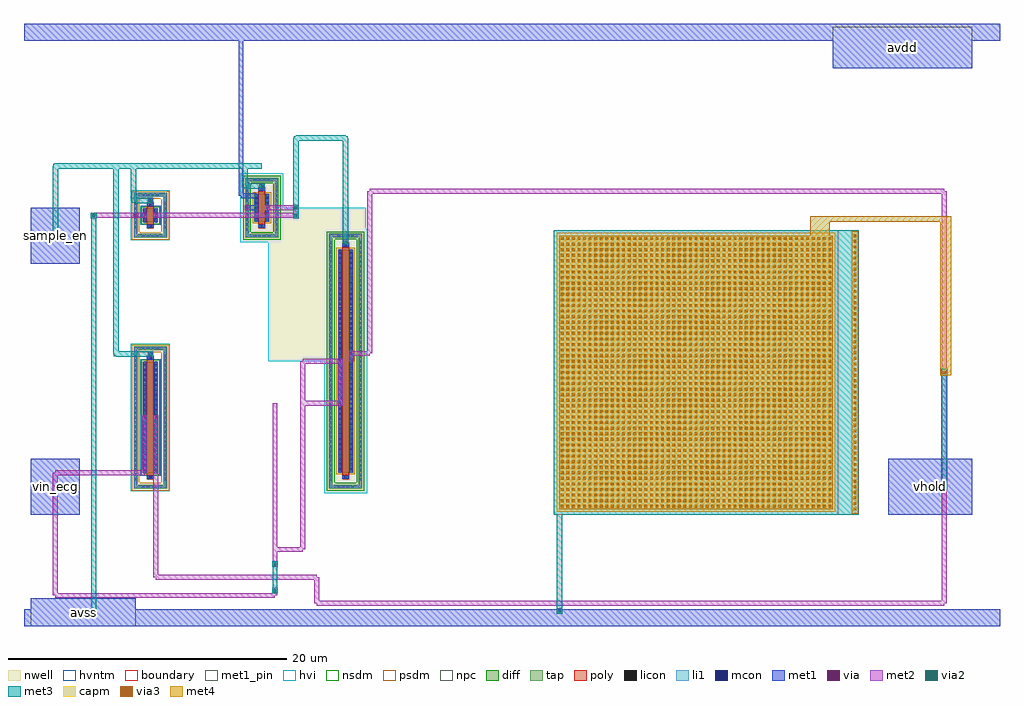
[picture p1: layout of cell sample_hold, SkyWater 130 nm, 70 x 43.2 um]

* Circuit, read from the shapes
.subckt sample_hold avdd avss sample_en vhold vin_ecg
XM1 vhold sample_en vin_ecg avss sky130_fd_pr__nfet_g5v0d10v5 w=8 l=0.5
XM2 n1 sample_en avss avss sky130_fd_pr__nfet_g5v0d10v5 w=1 l=0.5
XM3 n1 sample_en avdd avdd sky130_fd_pr__pfet_g5v0d10v5 w=2 l=0.5
XM4 vhold n1 vin_ecg avdd sky130_fd_pr__pfet_g5v0d10v5 w=16 l=0.5
XC5 vhold avss sky130_fd_pr__cap_mim_m3_1 w=20 l=20
.ends

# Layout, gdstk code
import gdstk
lib = gdstk.Library(unit=1e-6, precision=1e-09)
def R(c, l, rs):  # rectangles x0, y0, x1, y1
    for r in rs: c.add(gdstk.rectangle(r[:2], r[2:], *l))
def A(c, l, x, y, w, h, nx, ny, dx, dy):  # array of equal rectangles
    R(c, l, [(x+i*dx, y+j*dy, x+i*dx+w, y+j*dy+h) for i in range(nx) for j in range(ny)])
nwell = (64, 20)
diff = (65, 20)
tap = (65, 44)
poly = (66, 20)
licon = (66, 44)
li1 = (67, 20)
mcon = (67, 44)
met1_pin = (68, 16)
met1 = (68, 20)
via = (68, 44)
met2 = (69, 20)
via2 = (69, 44)
met3 = (70, 20)
via3 = (70, 44)
met4 = (71, 20)
hvi = (75, 20)
capm = (89, 44)
nsdm = (93, 44)
psdm = (94, 20)
npc = (95, 20)
hvntm = (125, 20)
boundary = (235, 4)

sky130_fd_pr__cap_mim_m3 = lib.new_cell('sky130_fd_pr__cap_mim_m3_1_BNHTNG')
R(sky130_fd_pr__cap_mim_m3, met3, [(-10.93,-10.2,10.93,10.2)])
A(sky130_fd_pr__cap_mim_m3, via3, 10.57, -9.9, 0.2, 0.2, 1, 50, 0, 0.4)
A(sky130_fd_pr__cap_mim_m3, via3, -10.43, -9.7, 0.2, 0.2, 49, 49, 0.4, 0.4)
R(sky130_fd_pr__cap_mim_m3, met4, [(10.43,-10.14,10.91,10.14), (-10.535,-9.805,9.075,9.805)])
R(sky130_fd_pr__cap_mim_m3, capm, [(-10.73,-10,9.27,10)])
R(sky130_fd_pr__cap_mim_m3, boundary, [(-10.93,-10.2,9.47,10.2)])

sky130_fd_pr__pfet_g5v0d = lib.new_cell('sky130_fd_pr__pfet_g5v0d10v5_KLD8Y6')
R(sky130_fd_pr__pfet_g5v0d, nwell, [(-1.54,-2.485,1.54,2.485)])
R(sky130_fd_pr__pfet_g5v0d, diff, [(-0.54,-1,0.54,1)])
R(sky130_fd_pr__pfet_g5v0d, tap, [(-1.21,-2.155,1.21,-1.865), (-1.21,-1.865,-0.92,1.865), (0.92,-1.865,1.21,1.865), (-1.21,1.865,1.21,2.155)])
R(sky130_fd_pr__pfet_g5v0d, poly, [(-0.25,-1.485,0.25,1.485)])
A(sky130_fd_pr__pfet_g5v0d, licon, -0.595, -2.095, 0.17, 0.17, 4, 2, 0.34, 4.02)
A(sky130_fd_pr__pfet_g5v0d, licon, -1.15, -1.615, 0.17, 0.17, 1, 10, 0, 0.34)
A(sky130_fd_pr__pfet_g5v0d, licon, 0.98, -1.615, 0.17, 0.17, 1, 10, 0, 0.34)
A(sky130_fd_pr__pfet_g5v0d, licon, -0.48, -0.935, 0.17, 0.17, 1, 6, 0, 0.34)
A(sky130_fd_pr__pfet_g5v0d, licon, 0.31, -0.935, 0.17, 0.17, 1, 6, 0, 0.34)
R(sky130_fd_pr__pfet_g5v0d, licon, [(-0.085,-1.405,0.085,-1.235), (-0.085,1.235,0.085,1.405)])
R(sky130_fd_pr__pfet_g5v0d, li1, [(-1.15,-2.095,1.15,-1.925), (-1.15,-1.925,-0.98,1.925), (0.98,-1.925,1.15,1.925), (-0.25,-1.405,0.25,-1.235), (-0.48,-1.02,-0.31,1.02), (0.31,-1.02,0.48,1.02), (-0.25,1.235,0.25,1.405), (-1.15,1.925,1.15,2.095)])
A(sky130_fd_pr__pfet_g5v0d, mcon, -0.48, -0.805, 0.17, 0.17, 1, 5, 0, 0.36)
A(sky130_fd_pr__pfet_g5v0d, mcon, 0.31, -0.805, 0.17, 0.17, 1, 5, 0, 0.36)
R(sky130_fd_pr__pfet_g5v0d, mcon, [(-0.085,-1.405,0.085,-1.235), (-0.085,1.235,0.085,1.405)])
R(sky130_fd_pr__pfet_g5v0d, met1, [(-0.23,-1.435,0.23,-1.205), (-0.51,-1,-0.28,1), (0.28,-1,0.51,1), (-0.23,1.205,0.23,1.435)])
R(sky130_fd_pr__pfet_g5v0d, hvi, [(-1.54,-2.485,1.54,2.485)])
R(sky130_fd_pr__pfet_g5v0d, nsdm, [(-1.335,-2.28,1.335,-1.74), (-1.335,-1.74,-0.795,1.74), (0.795,-1.74,1.335,1.74), (-1.335,1.74,1.335,2.28)])
R(sky130_fd_pr__pfet_g5v0d, psdm, [(-0.665,-1.125,0.665,1.125)])
R(sky130_fd_pr__pfet_g5v0d, npc, [(-0.185,-1.505,0.185,-1.135), (-0.185,1.135,0.185,1.505)])
R(sky130_fd_pr__pfet_g5v0d, boundary, [(-1.065,-2.01,1.065,2.01)])

sky130_fd_pr__nfet_g5v0d = lib.new_cell('sky130_fd_pr__nfet_g5v0d10v5_UNEQ2N')
R(sky130_fd_pr__nfet_g5v0d, diff, [(-0.54,-0.5,0.54,0.5)])
R(sky130_fd_pr__nfet_g5v0d, tap, [(-1.21,-1.61,1.21,-1.32), (-1.21,-1.32,-0.92,1.32), (0.92,-1.32,1.21,1.32), (-1.21,1.32,1.21,1.61)])
R(sky130_fd_pr__nfet_g5v0d, poly, [(-0.25,-0.94,0.25,0.94)])
A(sky130_fd_pr__nfet_g5v0d, licon, -0.595, -1.55, 0.17, 0.17, 4, 2, 0.34, 2.93)
A(sky130_fd_pr__nfet_g5v0d, licon, -1.15, -0.935, 0.17, 0.17, 1, 6, 0, 0.34)
A(sky130_fd_pr__nfet_g5v0d, licon, 0.98, -0.935, 0.17, 0.17, 1, 6, 0, 0.34)
A(sky130_fd_pr__nfet_g5v0d, licon, -0.48, -0.425, 0.17, 0.17, 1, 3, 0, 0.34)
A(sky130_fd_pr__nfet_g5v0d, licon, 0.31, -0.425, 0.17, 0.17, 1, 3, 0, 0.34)
R(sky130_fd_pr__nfet_g5v0d, licon, [(-0.085,-0.86,0.085,-0.69), (-0.085,0.69,0.085,0.86)])
R(sky130_fd_pr__nfet_g5v0d, li1, [(-1.15,-1.55,1.15,-1.38), (-1.15,-1.38,-0.98,1.38), (0.98,-1.38,1.15,1.38), (-0.25,-0.86,0.25,-0.69), (-0.48,-0.52,-0.31,0.52), (0.31,-0.52,0.48,0.52), (-0.25,0.69,0.25,0.86), (-1.15,1.38,1.15,1.55)])
R(sky130_fd_pr__nfet_g5v0d, mcon, [(-0.085,-0.86,0.085,-0.69), (-0.48,-0.265,-0.31,-0.095), (0.31,-0.265,0.48,-0.095), (-0.48,0.095,-0.31,0.265), (0.31,0.095,0.48,0.265), (-0.085,0.69,0.085,0.86)])
R(sky130_fd_pr__nfet_g5v0d, met1, [(-0.23,-0.89,0.23,-0.66), (-0.51,-0.5,-0.28,0.5), (0.28,-0.5,0.51,0.5), (-0.23,0.66,0.23,0.89)])
R(sky130_fd_pr__nfet_g5v0d, hvi, [(-1.395,-1.795,1.395,1.795)])
R(sky130_fd_pr__nfet_g5v0d, nsdm, [(-0.665,-0.625,0.665,0.625)])
R(sky130_fd_pr__nfet_g5v0d, psdm, [(-1.335,-1.735,1.335,-1.195), (-1.335,-1.195,-0.795,1.195), (0.795,-1.195,1.335,1.195), (-1.335,1.195,1.335,1.735)])
R(sky130_fd_pr__nfet_g5v0d, npc, [(-0.185,-0.96,0.185,-0.59), (-0.185,0.59,0.185,0.96)])
R(sky130_fd_pr__nfet_g5v0d, hvntm, [(-0.725,-0.685,0.725,0.685)])
R(sky130_fd_pr__nfet_g5v0d, boundary, [(-1.065,-1.465,1.065,1.465)])

c_sky130_fd_pr__pfet_g5v0d = lib.new_cell('sky130_fd_pr__pfet_g5v0d10v5_KLRLZ5')
R(c_sky130_fd_pr__pfet_g5v0d, nwell, [(-1.54,-9.485,1.54,9.485)])
R(c_sky130_fd_pr__pfet_g5v0d, diff, [(-0.54,-8,0.54,8)])
R(c_sky130_fd_pr__pfet_g5v0d, tap, [(-1.21,-9.155,1.21,-8.865), (-1.21,-8.865,-0.92,8.865), (0.92,-8.865,1.21,8.865), (-1.21,8.865,1.21,9.155)])
R(c_sky130_fd_pr__pfet_g5v0d, poly, [(-0.25,-8.485,0.25,8.485)])
A(c_sky130_fd_pr__pfet_g5v0d, licon, -0.595, -9.095, 0.17, 0.17, 4, 2, 0.34, 18.02)
A(c_sky130_fd_pr__pfet_g5v0d, licon, -1.15, -8.585, 0.17, 0.17, 1, 51, 0, 0.34)
A(c_sky130_fd_pr__pfet_g5v0d, licon, 0.98, -8.585, 0.17, 0.17, 1, 51, 0, 0.34)
A(c_sky130_fd_pr__pfet_g5v0d, licon, -0.48, -7.905, 0.17, 0.17, 1, 47, 0, 0.34)
A(c_sky130_fd_pr__pfet_g5v0d, licon, 0.31, -7.905, 0.17, 0.17, 1, 47, 0, 0.34)
R(c_sky130_fd_pr__pfet_g5v0d, licon, [(-0.085,-8.405,0.085,-8.235), (-0.085,8.235,0.085,8.405)])
R(c_sky130_fd_pr__pfet_g5v0d, li1, [(-1.15,-9.095,1.15,-8.925), (-1.15,-8.925,-0.98,8.925), (0.98,-8.925,1.15,8.925), (-0.25,-8.405,0.25,-8.235), (-0.48,-8.02,-0.31,8.02), (0.31,-8.02,0.48,8.02), (-0.25,8.235,0.25,8.405), (-1.15,8.925,1.15,9.095)])
A(c_sky130_fd_pr__pfet_g5v0d, mcon, -0.48, -7.825, 0.17, 0.17, 1, 44, 0, 0.36)
A(c_sky130_fd_pr__pfet_g5v0d, mcon, 0.31, -7.825, 0.17, 0.17, 1, 44, 0, 0.36)
R(c_sky130_fd_pr__pfet_g5v0d, mcon, [(-0.085,-8.405,0.085,-8.235), (-0.085,8.235,0.085,8.405)])
R(c_sky130_fd_pr__pfet_g5v0d, met1, [(-0.23,-8.435,0.23,-8.205), (-0.51,-8,-0.28,8), (0.28,-8,0.51,8), (-0.23,8.205,0.23,8.435)])
R(c_sky130_fd_pr__pfet_g5v0d, hvi, [(-1.54,-9.485,1.54,9.485)])
R(c_sky130_fd_pr__pfet_g5v0d, nsdm, [(-1.335,-9.28,1.335,-8.74), (-1.335,-8.74,-0.795,8.74), (0.795,-8.74,1.335,8.74), (-1.335,8.74,1.335,9.28)])
R(c_sky130_fd_pr__pfet_g5v0d, psdm, [(-0.665,-8.125,0.665,8.125)])
R(c_sky130_fd_pr__pfet_g5v0d, npc, [(-0.185,-8.505,0.185,-8.135), (-0.185,8.135,0.185,8.505)])
R(c_sky130_fd_pr__pfet_g5v0d, boundary, [(-1.065,-9.01,1.065,9.01)])

c_sky130_fd_pr__nfet_g5v0d = lib.new_cell('sky130_fd_pr__nfet_g5v0d10v5_YNEQJ5')
R(c_sky130_fd_pr__nfet_g5v0d, diff, [(-0.54,-4,0.54,4)])
R(c_sky130_fd_pr__nfet_g5v0d, tap, [(-1.21,-5.11,1.21,-4.82), (-1.21,-4.82,-0.92,4.82), (0.92,-4.82,1.21,4.82), (-1.21,4.82,1.21,5.11)])
R(c_sky130_fd_pr__nfet_g5v0d, poly, [(-0.25,-4.44,0.25,4.44)])
A(c_sky130_fd_pr__nfet_g5v0d, licon, -0.595, -5.05, 0.17, 0.17, 4, 2, 0.34, 9.93)
A(c_sky130_fd_pr__nfet_g5v0d, licon, -1.15, -4.505, 0.17, 0.17, 1, 27, 0, 0.34)
A(c_sky130_fd_pr__nfet_g5v0d, licon, 0.98, -4.505, 0.17, 0.17, 1, 27, 0, 0.34)
A(c_sky130_fd_pr__nfet_g5v0d, licon, -0.48, -3.825, 0.17, 0.17, 1, 23, 0, 0.34)
A(c_sky130_fd_pr__nfet_g5v0d, licon, 0.31, -3.825, 0.17, 0.17, 1, 23, 0, 0.34)
R(c_sky130_fd_pr__nfet_g5v0d, licon, [(-0.085,-4.36,0.085,-4.19), (-0.085,4.19,0.085,4.36)])
R(c_sky130_fd_pr__nfet_g5v0d, li1, [(-1.15,-5.05,1.15,-4.88), (-1.15,-4.88,-0.98,4.88), (0.98,-4.88,1.15,4.88), (-0.25,-4.36,0.25,-4.19), (-0.48,-4.02,-0.31,4.02), (0.31,-4.02,0.48,4.02), (-0.25,4.19,0.25,4.36), (-1.15,4.88,1.15,5.05)])
A(c_sky130_fd_pr__nfet_g5v0d, mcon, -0.48, -3.865, 0.17, 0.17, 1, 22, 0, 0.36)
A(c_sky130_fd_pr__nfet_g5v0d, mcon, 0.31, -3.865, 0.17, 0.17, 1, 22, 0, 0.36)
R(c_sky130_fd_pr__nfet_g5v0d, mcon, [(-0.085,-4.36,0.085,-4.19), (-0.085,4.19,0.085,4.36)])
R(c_sky130_fd_pr__nfet_g5v0d, met1, [(-0.23,-4.39,0.23,-4.16), (-0.51,-4,-0.28,4), (0.28,-4,0.51,4), (-0.23,4.16,0.23,4.39)])
R(c_sky130_fd_pr__nfet_g5v0d, hvi, [(-1.395,-5.295,1.395,5.295)])
R(c_sky130_fd_pr__nfet_g5v0d, nsdm, [(-0.665,-4.125,0.665,4.125)])
R(c_sky130_fd_pr__nfet_g5v0d, psdm, [(-1.335,-5.235,1.335,-4.695), (-1.335,-4.695,-0.795,4.695), (0.795,-4.695,1.335,4.695), (-1.335,4.695,1.335,5.235)])
R(c_sky130_fd_pr__nfet_g5v0d, npc, [(-0.185,-4.46,0.185,-4.09), (-0.185,4.09,0.185,4.46)])
R(c_sky130_fd_pr__nfet_g5v0d, hvntm, [(-0.725,-4.185,0.725,4.185)])
R(c_sky130_fd_pr__nfet_g5v0d, boundary, [(-1.065,-4.965,1.065,4.965)])

sample_hold = lib.new_cell('sample_hold')
R(sample_hold, nwell, [(17.5,19.01,24.5,30.01)])
R(sample_hold, li1, [(7.915,29.38,8.085,29.55), (15.915,29.925,16.085,30.095)])
R(sample_hold, mcon, [(7.915,29.38,8.085,29.55), (7.915,29.38,8.085,29.55), (15.915,29.925,16.085,30.095), (15.915,29.925,16.085,30.095)])
R(sample_hold, met1_pin, [(0.5,0,8,2), (0.5,8,4,12), (62,8,68,12), (0.5,26,4,30), (58,40,68,43)])
R(sample_hold, met1, [(0,0,70,1.2), (0.5,1.2,8,2), (38.22,1.2,38.58,1.28), (0.5,8,4,12), (62,8,68,12), (8.49,14.785,8.85,15.145), (9.28,14.785,9.64,15.145), (22.49,15.82,22.85,16.18), (22.49,18.83,22.85,19.19), (8.925,19.245,9.205,19.335), (8.885,19.335,9.245,19.695), (23.28,19.38,23.64,19.74), (0.5,26,4,30), (22.925,27.29,23.205,27.38), (22.885,27.38,23.245,27.74), (7.82,29.285,8.18,29.645), (8.49,29.285,8.85,29.645), (9.28,29.285,9.64,29.645), (15.82,29.83,16.18,29.835), (17.28,29.83,17.64,30.19), (15.82,29.835,16.67,30.185), (15.82,30.185,16.18,30.19), (8.925,30.245,9.205,30.335), (8.885,30.335,9.245,30.695), (15.565,30.685,16.67,30.86), (15.39,30.86,16.67,31.035), (15.39,31.035,15.74,42), (16.925,31.29,17.205,31.38), (16.885,31.38,17.245,31.74), (58,40,68,42), (0,42,70,43.2)])
R(sample_hold, via, [(4.925,1.025,5.075,1.175), (38.325,1.025,38.475,1.175), (2.175,9.925,2.325,10.075), (65.925,9.925,66.075,10.075), (65.925,9.925,66.075,10.075), (8.595,14.89,8.745,15.04), (9.385,14.89,9.535,15.04), (22.595,15.925,22.745,16.075), (22.595,18.935,22.745,19.085), (8.99,19.44,9.14,19.59), (23.385,19.485,23.535,19.635), (22.99,27.485,23.14,27.635), (2.175,27.925,2.325,28.075), (7.925,29.39,8.075,29.54), (8.595,29.39,8.745,29.54), (9.385,29.39,9.535,29.54), (15.925,29.935,16.075,30.085), (17.385,29.935,17.535,30.085), (8.99,30.44,9.14,30.59), (16.99,31.485,17.14,31.635)])
R(sample_hold, met2, [(4.8,0.9,5.2,1.3), (38.2,0.9,38.6,1.3), (21,1.475,66,1.65), (20.825,1.65,66.175,1.825), (20.825,1.825,21.175,3.325), (65.825,1.825,66.175,9.8), (2.25,2.025,18,2.2), (2.075,2.2,18.175,2.35), (2.075,2.35,18.2,2.375), (2.075,2.375,2.425,9.82), (17.8,2.375,18.2,2.75), (9.46,3.325,21.175,3.5), (9.285,3.5,21,3.675), (9.285,3.675,9.635,14.785), (17.8,4.25,18.2,4.65), (17.825,4.65,18.175,5.325), (17.825,5.325,20,5.5), (17.825,5.5,20.175,5.675), (17.825,5.675,18.175,16), (19.825,5.675,20.175,15.825), (65.8,9.8,66.2,10.2), (2.07,9.82,2.43,10.18), (2.075,10.18,2.425,10.825), (65.825,10.2,66.175,31.025), (2.075,10.825,8.67,11), (2.25,11,8.845,11.175), (8.495,11.175,8.845,14.785), (8.49,14.785,8.85,15.145), (9.28,14.785,9.64,15.145), (22.49,15.82,22.85,15.825), (19.825,15.825,22.85,16.175), (19.825,16.175,20.175,18.835), (22.49,16.175,22.85,16.18), (22.495,16.18,22.845,18.83), (22.49,18.83,22.85,18.835), (19.825,18.835,22.85,19.01), (20,19.01,22.85,19.185), (23.285,19.01,23.635,19.38), (22.49,19.185,22.85,19.19), (8.865,19.315,9.265,19.715), (23.28,19.38,23.64,19.385), (23.28,19.385,24.8,19.56), (23.28,19.56,24.975,19.735), (23.28,19.735,23.64,19.74), (24.625,19.735,24.975,31.025), (22.865,27.36,23.265,27.76), (2.05,27.8,2.45,28.2), (4.8,29.265,5.2,29.29), (19.3,29.265,19.7,29.29), (7.82,29.285,8.18,29.29), (8.49,29.285,8.85,29.29), (9.28,29.285,9.64,29.29), (4.8,29.29,8.85,29.64), (9.28,29.29,19.7,29.64), (4.8,29.64,5.2,29.665), (7.82,29.64,8.18,29.645), (8.49,29.64,8.85,29.645), (9.28,29.64,9.64,29.645), (19.3,29.64,19.7,29.835), (15.82,29.83,16.18,30.19), (17.28,29.83,17.64,29.835), (17.28,29.835,19.7,30.185), (17.28,30.185,17.64,30.19), (19.3,30.185,19.7,30.21), (8.865,30.315,9.265,30.715), (24.625,31.025,66.175,31.2), (24.8,31.2,66,31.375), (16.865,31.36,17.265,31.76)])
R(sample_hold, via2, [(4.9,1,5.1,1.2), (38.3,1,38.5,1.2), (17.9,2.45,18.1,2.65), (17.9,4.35,18.1,4.55), (65.9,9.9,66.1,10.1), (8.965,19.415,9.165,19.615), (22.965,27.46,23.165,27.66), (2.15,27.9,2.35,28.1), (4.9,29.365,5.1,29.565), (19.4,29.365,19.6,29.565), (19.4,29.91,19.6,30.11), (8.965,30.415,9.165,30.615), (16.965,31.46,17.165,31.66)])
R(sample_hold, met3, [(4.8,0.9,5.2,1.3), (38.2,0.9,38.6,9), (4.825,1.3,5.175,29.265), (17.8,2.35,18.2,2.75), (17.825,2.75,18.175,4.25), (17.8,4.25,18.2,4.65), (65.8,9.8,66.2,17.95), (65.75,17.95,66.25,18.45), (6.6,19.315,9.265,19.365), (6.45,19.365,9.265,19.515), (6.4,19.515,9.265,19.715), (6.4,19.715,6.8,32.8), (22.865,27.36,23.265,34.8), (2.05,27.8,2.45,32.8), (4.8,29.265,5.2,29.665), (19.3,29.265,19.7,34.8), (7.865,30.315,9.265,30.365), (7.715,30.365,9.265,30.515), (7.665,30.515,9.265,30.715), (7.665,30.715,8.065,32.8), (15.865,31.36,17.265,31.41), (15.715,31.41,17.265,31.56), (15.665,31.56,17.265,31.76), (15.665,31.76,16.065,32.8), (2.05,32.8,17.065,33), (2.1,33,17.065,33.15), (2.25,33.15,17.065,33.2), (19.3,34.8,23.265,35), (19.35,35,23.215,35.15), (19.5,35.15,23.065,35.2)])
R(sample_hold, via3, [(65.9,18.1,66.1,18.3)])
R(sample_hold, met4, [(56.4,17.9,57.8,29), (65.75,17.95,66.25,18), (65.7,18,66.5,29), (56.4,29,66.5,29.4)])
R(sample_hold, hvi, [(17.5,19.01,21.525,27.525), (18.605,27.525,21.525,28.495), (18.605,28.495,24.5,30.01)])
sample_hold.add(gdstk.Reference(sky130_fd_pr__cap_mim_m3, (48.93,18.2)))
sample_hold.add(gdstk.Reference(sky130_fd_pr__pfet_g5v0d, (17.065,30.01)))
sample_hold.add(gdstk.Reference(sky130_fd_pr__nfet_g5v0d, (9.065,29.465)))
sample_hold.add(gdstk.Reference(c_sky130_fd_pr__pfet_g5v0d, (23.065,19.01)))
sample_hold.add(gdstk.Reference(c_sky130_fd_pr__nfet_g5v0d, (9.065,14.965)))
sample_hold.add(gdstk.Label('vin_ecg', (2.25,10), layer=68, texttype=5))
sample_hold.add(gdstk.Label('vhold', (65,10), layer=68, texttype=5))
sample_hold.add(gdstk.Label('sample_en', (2.25,28), layer=68, texttype=5))
sample_hold.add(gdstk.Label('avdd', (63,41.5), layer=68, texttype=5))
sample_hold.add(gdstk.Label('avss', (4.25,1), layer=68, texttype=5))

lib.write_gds('sample_hold.gds')
